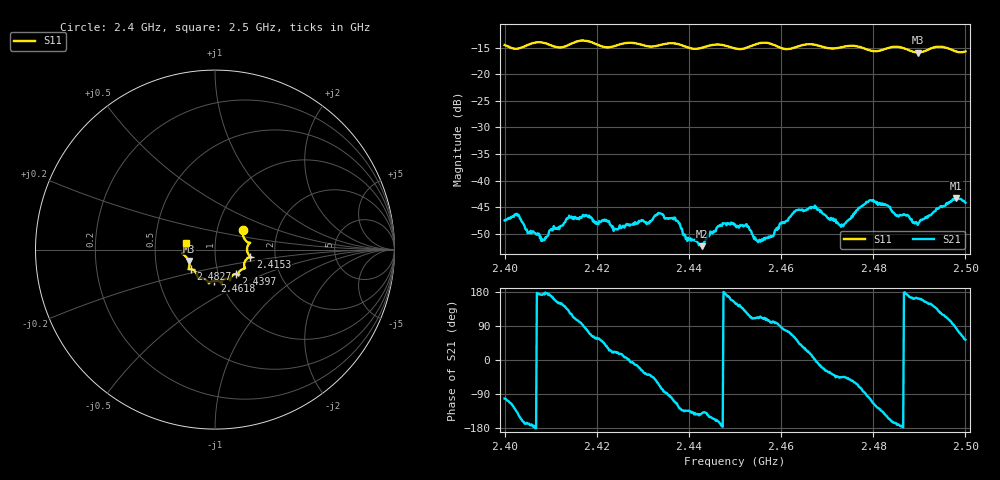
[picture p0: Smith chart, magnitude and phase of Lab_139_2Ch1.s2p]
# Hz S RI R 50
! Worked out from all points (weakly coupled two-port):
!   601 points, 2.4 GHz to 2.5 GHz, reference 50 ohm
!   highest |S21| = -43.32 dB at 2.498 GHz (marker M1); lowest = -52.3 dB at 2.4428 GHz (marker M2)
!   lowest |S11| = -15.9 dB at 2.4897 GHz (marker M3), VSWR 1.38, Z = 36.9 - j4.82 ohm
!   |S11| at or under -10 dB: start of sweep to end of sweep
!   S12 and S22 are empty: the file has one direction only
!   S11 on the Smith chart (normalised r, x): 2.4 GHz: 1.33, +0.30; 2.4153 GHz: 1.48, -0.12; 2.4397 GHz: 1.21, -0.34; 2.4618 GHz: 0.94, -0.33; 2.4827 GHz: 0.75, -0.17; 2.5 GHz: 0.72, +0.06
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2.4e9  0.1553 0.107  -0.00085 -0.00414  0 0  0 0
2.402667e9  0.1615 0.0642  -0.00356 -0.00333  0 0  0 0
2.4085e9  0.194 0.0367  -0.00276 0.000202  0 0  0 0
2.415333e9  0.1969 -0.0392  -0.00147 0.00432  0 0  0 0
2.416667e9  0.2028 -0.0434  -0.000506 0.00443  0 0  0 0
2.424167e9  0.1626 -0.0896  0.0033 0.00124  0 0  0 0
2.433333e9  0.1298 -0.1337  0.00235 -0.00436  0 0  0 0
2.437333e9  0.1308 -0.1427  -0.00168 -0.00385  0 0  0 0
2.439667e9  0.1168 -0.1358  -0.00188 -0.00195  0 0  0 0
2.442833e9  0.0897 -0.1529  -0.00187 -0.00154  0 0  0 0
2.4465e9  0.0848 -0.1703  -0.00361 -0.00105  0 0  0 0
2.45e9  0.0655 -0.1621  -0.00337 0.00191  0 0  0 0
2.4555e9  0.0373 -0.1929  -0.00111 0.00242  0 0  0 0
2.461833e9  -0.00332 -0.1729  0.00136 0.00429  0 0  0 0
2.466667e9  -0.035 -0.1879  0.00549 0.0012  0 0  0 0
2.473167e9  -0.0822 -0.1601  0.0027 -0.00276  0 0  0 0
2.479e9  -0.1032 -0.1336  -0.000942 -0.00635  0 0  0 0
2.482667e9  -0.1349 -0.1088  -0.00493 -0.00338  0 0  0 0
2.483333e9  -0.1402 -0.1084  -0.0052 -0.00244  0 0  0 0
2.489667e9  -0.1468 -0.0636  -0.00365 0.00117  0 0  0 0
2.498e9  -0.1635 0.00475  0.000746 0.00679  0 0  0 0
2.5e9  -0.1593 0.0384  0.00366 0.00499  0 0  0 0
